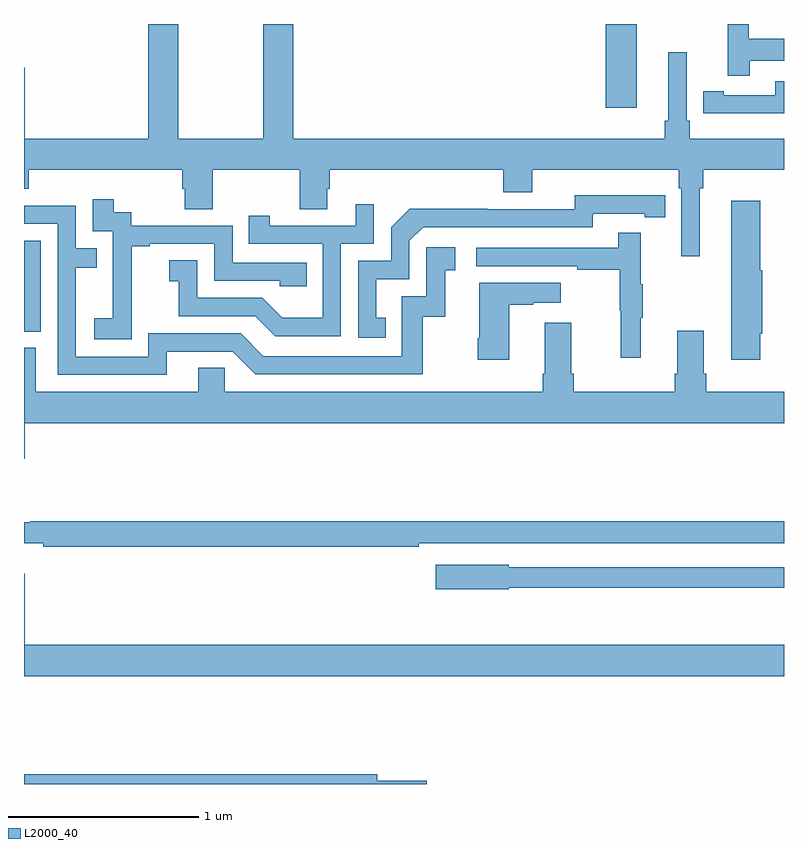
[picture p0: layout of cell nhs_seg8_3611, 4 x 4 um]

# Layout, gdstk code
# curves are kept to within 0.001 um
import gdstk
lib = gdstk.Library(unit=1e-6, precision=1e-09)
def R(c, l, rs):  # rectangles x0, y0, x1, y1
    for r in rs: c.add(gdstk.rectangle(r[:2], r[2:], *l))
def P(c, l, *ps):  # polygons
    for p in ps: c.add(gdstk.Polygon(p, *l))
L2000_40 = (2000, 40)

nhs_seg8_3611 = lib.new_cell('nhs_seg8_3611')
R(nhs_seg8_3611, L2000_40, [(333,1150.281,333.087,1150.758), (336.062,1151.46,336.226,1151.9)])
P(nhs_seg8_3611, L2000_40, [(334.418,1151.9),(334.258,1151.9),(334.258,1151.296),(333.813,1151.296),(333.813,1151.9),(333.653,1151.9),(333.653,1151.296),(333.004,1151.296),(333.004,1151.671),(333,1151.671),(333,1151.033),(333.026,1151.033),(333.026,1151.132),(333.833,1151.132),(333.833,1151.034),(333.845,1151.034),(333.845,1150.924),(333.993,1150.924),(333.993,1151.132),(334.45,1151.132),(334.45,1150.924),(334.597,1150.924),(334.597,1151.034),(334.61,1151.034),(334.61,1151.132),(335.522,1151.132),(335.522,1151.015),(335.674,1151.015),(335.674,1151.132),(336.446,1151.132),(336.446,1151.036),(336.459,1151.036),(336.459,1150.677),(336.556,1150.677),(336.556,1151.036),(336.575,1151.036),(336.575,1151.132),(337,1151.132),(337,1151.296),(336.503,1151.296),(336.503,1151.392),(336.489,1151.392),(336.489,1151.752),(336.392,1151.752),(336.392,1151.392),(336.373,1151.392),(336.373,1151.296),(334.418,1151.296)],
  [(336.821,1151.706),(337,1151.706),(337,1151.822),(336.814,1151.822),(336.814,1151.9),(336.693,1151.9),(336.693,1151.899),(336.704,1151.899),(336.704,1151.628),(336.821,1151.628)],
  [(337,1151.598),(336.954,1151.598),(336.954,1151.526),(336.682,1151.526),(336.682,1151.546),(336.574,1151.546),(336.574,1151.43),(336.682,1151.43),(336.682,1151.429),(337,1151.429)],
  [(334.904,1150.353),(334.855,1150.353),(334.855,1150.557),(335.028,1150.557),(335.028,1150.758),(335.1,1150.83),(335.994,1150.83),(335.994,1150.902),(336.266,1150.902),(336.266,1150.882),(336.374,1150.882),(336.374,1150.998),(335.898,1150.999),(335.898,1150.926),(335.438,1150.926),(335.438,1150.928),(335.03,1150.928),(334.932,1150.83),(334.932,1150.653),(334.758,1150.653),(334.758,1150.248),(334.904,1150.248)],
  [(333.567,1150.447),(333.566,1150.447),(333.566,1150.731),(333.661,1150.731),(333.661,1150.743),(334.002,1150.743),(334.002,1150.548),(334.347,1150.548),(334.347,1150.521),(334.487,1150.521),(334.487,1150.644),(334.098,1150.644),(334.098,1150.839),(333.564,1150.839),(333.564,1150.908),(333.472,1150.908),(333.472,1150.978),(333.363,1150.978),(333.363,1150.809),(333.468,1150.809),(333.468,1150.58),(333.467,1150.58),(333.467,1150.351),(333.369,1150.351),(333.369,1150.241),(333.567,1150.241)],
  [(336.876,1150.269),(336.886,1150.269),(336.886,1150.605),(336.876,1150.605),(336.876,1150.969),(336.722,1150.969),(336.722,1150.134),(336.876,1150.134)],
  [(334.668,1150.743),(334.842,1150.743),(334.842,1150.951),(334.745,1150.951),(334.745,1150.839),(334.294,1150.839),(334.294,1150.891),(334.183,1150.891),(334.183,1150.743),(334.572,1150.743),(334.572,1150.354),(334.358,1150.354),(334.254,1150.458),(333.912,1150.458),(333.912,1150.657),(333.765,1150.657),(333.765,1150.547),(333.814,1150.547),(333.814,1150.362),(334.217,1150.362),(334.322,1150.257),(334.668,1150.257)],
  [(333.751,1150.176),(334.098,1150.176),(334.218,1150.056),(335.098,1150.056),(335.098,1150.359),(335.216,1150.359),(335.216,1150.605),(335.269,1150.605),(335.269,1150.726),(335.118,1150.726),(335.118,1150.467),(334.989,1150.467),(334.989,1150.152),(334.26,1150.152),(334.14,1150.272),(333.654,1150.272),(333.654,1150.149),(333.273,1150.149),(333.273,1150.618),(333.383,1150.618),(333.383,1150.719),(333.273,1150.719),(333.273,1150.944),(333,1150.944),(333,1150.848),(333.177,1150.848),(333.177,1150.053),(333.751,1150.053)],
  [(336.245,1150.355),(336.256,1150.355),(336.256,1150.529),(336.245,1150.529),(336.245,1150.801),(336.127,1150.801),(336.127,1150.722),(335.379,1150.722),(335.379,1150.626),(335.911,1150.626),(335.911,1150.606),(336.135,1150.606),(336.135,1150.392),(336.142,1150.392),(336.142,1150.143),(336.245,1150.143)],
  [(335.554,1150.423),(335.681,1150.423),(335.681,1150.433),(335.824,1150.433),(335.824,1150.537),(335.396,1150.537),(335.396,1150.246),(335.389,1150.246),(335.389,1150.134),(335.554,1150.134)],
  [(333.004,1149.8),(337,1149.8),(337,1149.964),(336.59,1149.964),(336.59,1150.06),(336.577,1150.06),(336.577,1150.285),(336.437,1150.285),(336.437,1150.06),(336.425,1150.06),(336.425,1149.964),(335.894,1149.964),(335.894,1150.06),(335.881,1150.06),(335.881,1150.327),(335.741,1150.327),(335.741,1150.06),(335.729,1150.06),(335.729,1149.964),(334.056,1149.964),(334.056,1150.091),(333.917,1150.091),(333.917,1149.964),(333.061,1149.964),(333.061,1150.196),(333,1150.196),(333,1149.612),(333.004,1149.612)],
  [(335.078,1149.168),(337,1149.168),(337,1149.284),(333.032,1149.284),(333.032,1149.277),(333,1149.277),(333,1149.167),(333.1,1149.167),(333.1,1149.148),(335.078,1149.148)],
  [(335.55,1148.934),(337,1148.934),(337,1149.042),(335.55,1149.042),(335.55,1149.055),(335.166,1149.055),(335.166,1148.926),(335.55,1148.926)],
  [(337,1148.632),(333.004,1148.632),(333.004,1149.007),(333,1149.007),(333,1148.468),(337,1148.468)],
  [(335.119,1147.916),(334.858,1147.916),(334.858,1147.952),(333,1147.952),(333,1147.9),(335.119,1147.9)])

lib.write_gds('nhs_seg8_3611.gds')
